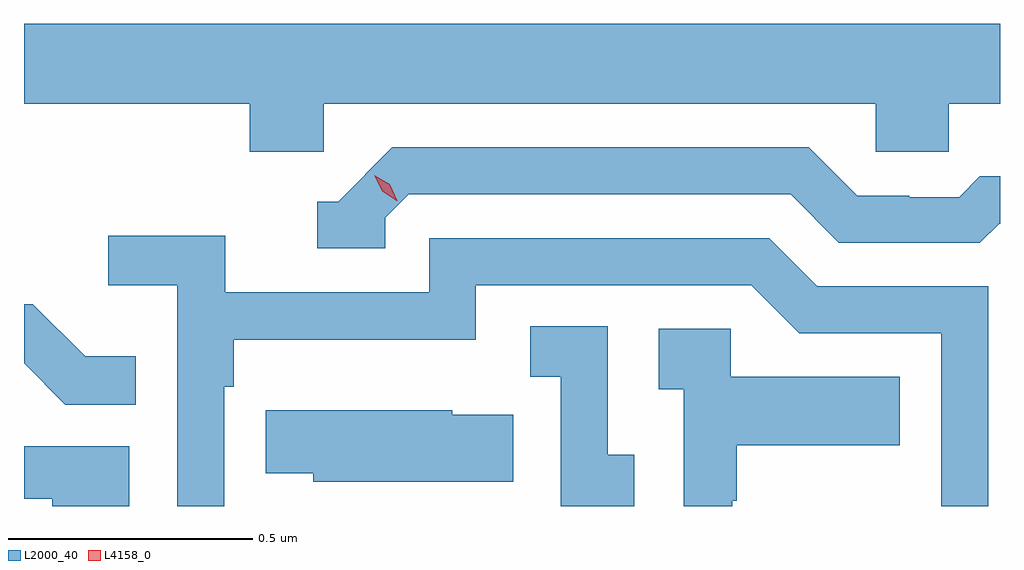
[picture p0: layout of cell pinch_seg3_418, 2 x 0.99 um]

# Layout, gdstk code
import gdstk
lib = gdstk.Library(unit=1e-6, precision=1e-09)
def P(c, l, *ps):  # polygons
    for p in ps: c.add(gdstk.Polygon(p, *l))
L2000_40 = (2000, 40)
L4158_0 = (4158, 0)

pinch_seg3_418 = lib.new_cell('pinch_seg3_418')
P(pinch_seg3_418, L2000_40, [(899.61,695.588),(900.741,695.588),(900.741,695.49),(900.891,695.49),(900.891,695.588),(900.996,695.588),(900.996,695.752),(898.996,695.752),(898.996,695.588),(899.459,695.588),(899.459,695.49),(899.61,695.49)],
  [(899.736,695.355),(899.784,695.403),(900.567,695.403),(900.666,695.304),(900.955,695.304),(900.994,695.343),(900.996,695.343),(900.996,695.44),(900.955,695.44),(900.913,695.397),(900.81,695.397),(900.81,695.4),(900.703,695.4),(900.604,695.499),(899.751,695.499),(899.64,695.388),(899.597,695.388),(899.597,695.292),(899.736,695.292)],
  [(899.406,695.009),(899.426,695.009),(899.426,695.105),(899.922,695.105),(899.922,695.217),(900.486,695.217),(900.585,695.118),(900.876,695.118),(900.876,694.764),(900.972,694.764),(900.972,695.214),(900.622,695.214),(900.523,695.313),(899.826,695.313),(899.826,695.202),(899.408,695.202),(899.408,695.318),(899.169,695.318),(899.169,695.216),(899.31,695.216),(899.31,694.764),(899.406,694.764)],
  [(899.225,695.071),(899.121,695.071),(899.014,695.178),(898.996,695.178),(898.996,695.057),(899.081,694.972),(899.225,694.972)],
  [(900.247,694.869),(900.192,694.869),(900.192,695.132),(900.033,695.132),(900.033,695.029),(900.096,695.029),(900.096,694.764),(900.247,694.764)],
  [(900.447,694.775),(900.457,694.775),(900.457,694.889),(900.791,694.889),(900.791,695.029),(900.444,695.029),(900.444,695.127),(900.297,695.127),(900.297,695.003),(900.348,695.003),(900.348,694.764),(900.447,694.764)],
  [(899.999,694.951),(899.874,694.951),(899.874,694.96),(899.491,694.96),(899.491,694.831),(899.589,694.831),(899.589,694.814),(899.999,694.814)],
  [(899.212,694.887),(898.996,694.887),(898.996,694.779),(899.054,694.779),(899.054,694.764),(899.212,694.764)])
P(pinch_seg3_418, L4158_0, [(899.76,695.39),(899.73,695.409),(899.714,695.442),(899.714,695.442),(899.714,695.442),(899.745,695.423),(899.761,695.39),(899.761,695.39)])

lib.write_gds('pinch_seg3_418.gds')
